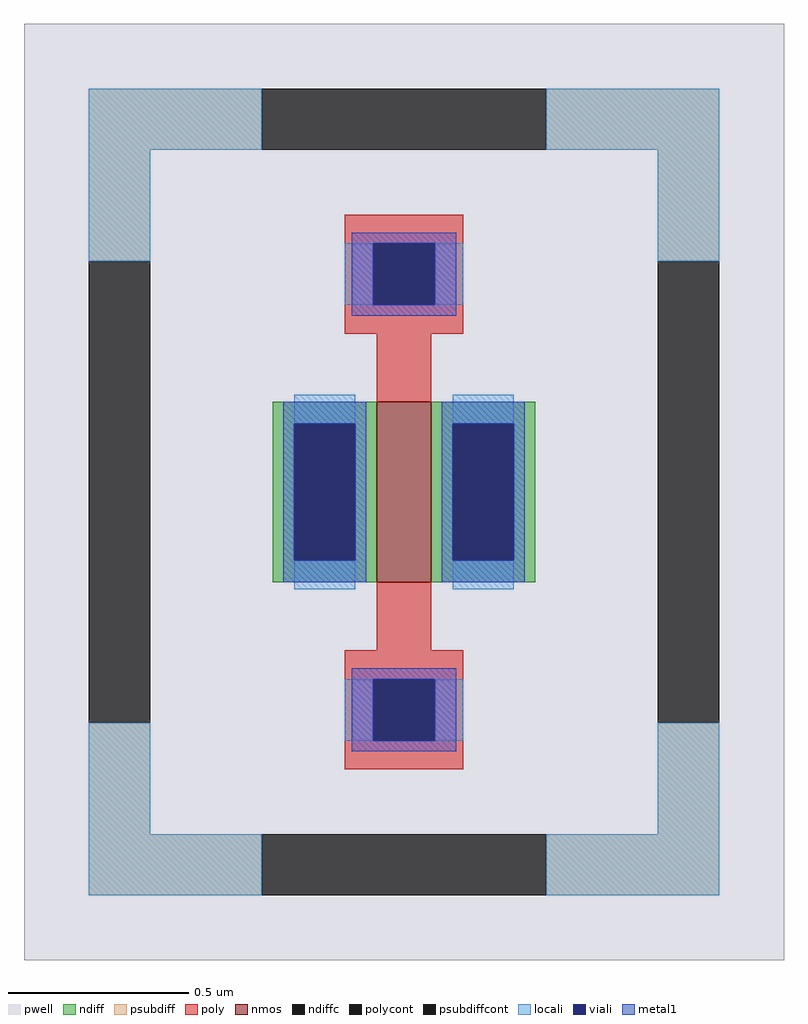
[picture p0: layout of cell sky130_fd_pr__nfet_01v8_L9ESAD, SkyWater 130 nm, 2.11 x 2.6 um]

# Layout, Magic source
magic
tech sky130A
magscale 1 2
<< pwell >>
rect -211 -260 211 260
<< nmos >>
rect -15 -50 15 50
<< ndiff >>
rect -73 38 -15 50
rect -73 -38 -61 38
rect -27 -38 -15 38
rect -73 -50 -15 -38
rect 15 38 73 50
rect 15 -38 27 38
rect 61 -38 73 38
rect 15 -50 73 -38
<< ndiffc >>
rect -61 -38 -27 38
rect 27 -38 61 38
<< psubdiff >>
rect -175 190 -79 224
rect 79 190 175 224
rect -175 128 -141 190
rect 141 128 175 190
rect -175 -190 -141 -128
rect 141 -190 175 -128
rect -175 -224 -79 -190
rect 79 -224 175 -190
<< psubdiffcont >>
rect -79 190 79 224
rect -175 -128 -141 128
rect 141 -128 175 128
rect -79 -224 79 -190
<< poly >>
rect -33 138 33 154
rect -33 104 -17 138
rect 17 104 33 138
rect -33 88 33 104
rect -15 50 15 88
rect -15 -88 15 -50
rect -33 -104 33 -88
rect -33 -138 -17 -104
rect 17 -138 33 -104
rect -33 -154 33 -138
<< polycont >>
rect -17 104 17 138
rect -17 -138 17 -104
<< locali >>
rect -175 190 -79 224
rect 79 190 175 224
rect -175 128 -141 190
rect -33 104 -17 138
rect 17 104 33 138
rect 141 128 175 190
rect -61 38 -27 54
rect -61 -54 -27 -38
rect 27 38 61 54
rect 27 -54 61 -38
rect -175 -190 -141 -128
rect -33 -138 -17 -104
rect 17 -138 33 -104
rect 141 -190 175 -128
rect -175 -224 -79 -190
rect 79 -224 175 -190
<< viali >>
rect -17 104 17 138
rect -61 -38 -27 38
rect 27 -38 61 38
rect -17 -138 17 -104
<< metal1 >>
rect -29 138 29 144
rect -29 104 -17 138
rect 17 104 29 138
rect -29 98 29 104
rect -67 38 -21 50
rect -67 -38 -61 38
rect -27 -38 -21 38
rect -67 -50 -21 -38
rect 21 38 67 50
rect 21 -38 27 38
rect 61 -38 67 38
rect 21 -50 67 -38
rect -29 -104 29 -98
rect -29 -138 -17 -104
rect 17 -138 29 -104
rect -29 -144 29 -138
<< properties >>
string FIXED_BBOX -158 -207 158 207
string gencell sky130_fd_pr__nfet_01v8
string library sky130
string parameters w 0.5 l 0.15 m 1 nf 1 diffcov 100 polycov 100 guard 1 glc 1 grc 1 gtc 1 gbc 1 tbcov 100 rlcov 100 topc 1 botc 1 poverlap 0 doverlap 1 lmin 0.15 wmin 0.42 compatible {sky130_fd_pr__nfet_01v8 sky130_fd_pr__nfet_01v8_lvt  sky130_fd_bs_flash__special_sonosfet_star  sky130_fd_pr__nfet_g5v0d10v5 sky130_fd_pr__nfet_05v0_nvt  sky130_fd_pr__nfet_03v3_nvt} full_metal 1 viasrc 100 viadrn 100 viagate 100 viagb 0 viagr 0 viagl 0 viagt 0
<< end >>
